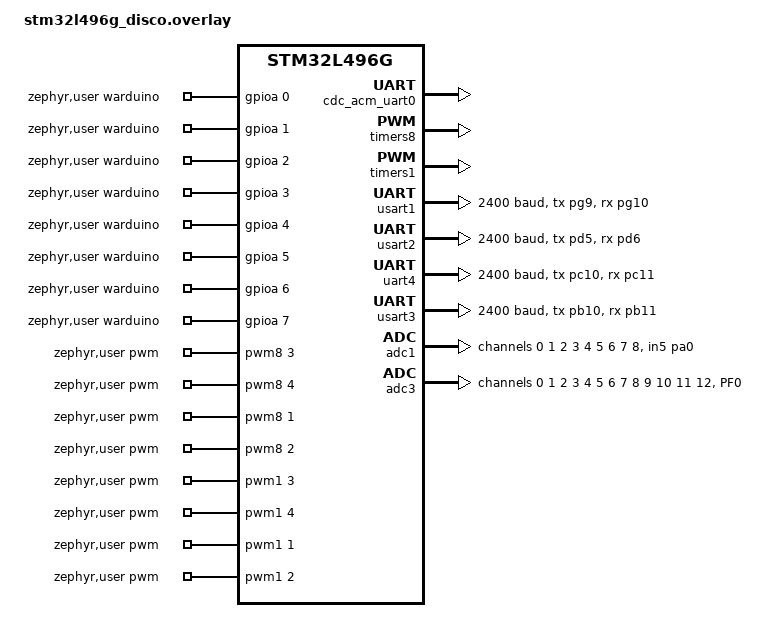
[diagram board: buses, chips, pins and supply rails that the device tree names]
#include "../app.overlay"

/ {
	chosen {
		zephyr,console = &cdc_acm_uart0;
	};
};

&zephyr_udc0 {
	cdc_acm_uart0: cdc_acm_uart0 {
		compatible = "zephyr,cdc-acm-uart";
	};
};

/ {
	zephyr,user {
		warduino-gpios =
				<&gpioa 0 0>,
				<&gpioa 1 0>,
				<&gpioa 2 0>,
				<&gpioa 3 0>,
				<&gpioa 4 0>,
				<&gpioa 5 0>,
				<&gpioa 6 0>,
				<&gpioa 7 0>,
				<&gpioa 8 0>,
				<&gpioa 9 0>,
				<&gpioa 10 0>,
				<&gpioa 11 0>,
				<&gpioa 12 0>,
				<&gpioa 15 0>,
				<&gpiob 0 0>,
				<&gpiob 1 0>,
				<&gpiob 2 0>,
				<&gpiob 3 0>,
				<&gpiob 4 0>,
				<&gpiob 5 0>,
				<&gpiob 6 0>,
				<&gpiob 7 0>,
				<&gpiob 8 0>,
				<&gpiob 9 0>,
				<&gpiob 12 0>,
				<&gpiob 13 0>,
				<&gpiob 14 0>,
				<&gpiob 15 0>,
				<&gpioc 0 0>,
				<&gpioc 1 0>,
				<&gpioc 2 0>,
				<&gpioc 3 0>,
				<&gpioc 4 0>,
				<&gpioc 5 0>,
				<&gpioc 6 0>,
				<&gpioc 7 0>,
				<&gpioc 8 0>,
				<&gpioc 9 0>,
				<&gpioc 12 0>,
				<&gpioc 15 0>,
				<&gpiod 0 0>,
				<&gpiod 1 0>,
				<&gpiod 2 0>,
				<&gpiod 3 0>,
				<&gpiod 4 0>,
				<&gpiod 7 0>,
				<&gpiod 8 0>,
				<&gpiod 9 0>,
				<&gpiod 10 0>,
				<&gpiod 11 0>,
				<&gpiod 12 0>,
				<&gpiod 13 0>,
				<&gpiod 14 0>,
				<&gpiod 15 0>,
				<&gpioe 0 0>,
				<&gpioe 1 0>,
				<&gpioe 2 0>,
				<&gpioe 3 0>,
				<&gpioe 4 0>,
				<&gpioe 7 0>,
				<&gpioe 8 0>,
				<&gpioe 10 0>,
				<&gpioe 11 0>,
				<&gpioe 12 0>,
				<&gpioe 13 0>,
				<&gpioe 14 0>,
				<&gpioe 15 0>,
				<&gpiof 3 0>,
				<&gpiof 4 0>,
				<&gpiof 5 0>,
				<&gpiof 6 0>,
				<&gpiof 7 0>,
				<&gpiof 8 0>,
				<&gpiof 9 0>,
				<&gpiof 10 0>,
				<&gpiof 11 0>,
				<&gpiof 12 0>,
				<&gpiof 13 0>,
				<&gpiof 14 0>,
				<&gpiog 2 0>,
				<&gpiog 3 0>,
				<&gpiog 4 0>,
				<&gpiog 5 0>,
				<&gpiog 6 0>,
				<&gpiog 7 0>,
				<&gpiog 8 0>,
				<&gpiog 11 0>,
				<&gpiog 12 0>,
				<&gpiog 15 0>,
				<&gpiob 10 0>,
				<&gpiob 11 0>,
				<&gpioc 10 0>,
				<&gpioc 11 0>,
				<&gpiog 13 0>,
				<&gpiog 14 0>,
				<&gpiod 5 0>,
				<&gpiod 6 0>,
				<&gpiof 0 0>,
				<&gpiof 1 0>,
				<&gpiog 9 0>,
				<&gpiog 10 0>;

		pwms =
				<&pwm8 3 10000 PWM_POLARITY_NORMAL>,
				<&pwm8 4 10000 PWM_POLARITY_NORMAL>,
				<&pwm8 1 10000 PWM_POLARITY_NORMAL>,
				<&pwm8 2 10000 PWM_POLARITY_NORMAL>,
				<&pwm1 3 10000 PWM_POLARITY_NORMAL>,
				<&pwm1 4 10000 PWM_POLARITY_NORMAL>,
				<&pwm1 1 10000 PWM_POLARITY_NORMAL>,
				<&pwm1 2 10000 PWM_POLARITY_NORMAL>;

		warduino-uarts =
				<&usart3>,
				<&uart4>,
				<&usart2>,
				<&usart1>;
	};
};

&timers8 {
	status = "okay";

	pwm8: pwm {
		status = "okay";
		pinctrl-0 = <&tim8_ch3_pc8 &tim8_ch4_pc9 &tim8_ch1_pc6 &tim8_ch2_pc7>;
		pinctrl-names =
				"default";
	};
};

&timers1 {
	status = "okay";

	pwm1: pwm {
		status = "okay";
		pinctrl-0 = <&tim1_ch3_pe13 &tim1_ch4_pe14 &tim1_ch1_pa8 &tim1_ch2_pa9>;
		pinctrl-names =
				"default";
	};
};

&usart1 {
	pinctrl-0 = <&usart1_tx_pg9 &usart1_rx_pg10>;
	current-speed = <2400>;
};

&usart2 {
	pinctrl-0 = <&usart2_tx_pd5 &usart2_rx_pd6>;
	current-speed = <2400>;
};

&uart4 {
	pinctrl-0 = <&uart4_tx_pc10 &uart4_rx_pc11>;
	current-speed = <2400>;
	status = "okay";
	pinctrl-names = "default";
};

&usart3 {
	pinctrl-0 = <&usart3_tx_pb10 &usart3_rx_pb11>;
	current-speed = <2400>;
	status = "okay";
	pinctrl-names = "default";
};

&adc1 {
	pinctrl-0 = < &adc1_in5_pa0 >;
	#address-cells = <1>;
	#size-cells = <0>;

	channel@0 {
		reg = <0>;
		zephyr,gain = "ADC_GAIN_1";
		zephyr,reference = "ADC_REF_INTERNAL";
		zephyr,vref-mv = <8>;
		zephyr,acquisition-time = <ADC_ACQ_TIME_DEFAULT>;
		zephyr,resolution = <12>;
	};

	channel@1 {
		reg = <1>;
		zephyr,gain = "ADC_GAIN_1";
		zephyr,reference = "ADC_REF_INTERNAL";
		zephyr,vref-mv = <8>;
		zephyr,acquisition-time = <ADC_ACQ_TIME_DEFAULT>;
		zephyr,resolution = <12>;
	};

	channel@2 {
		reg = <2>;
		zephyr,gain = "ADC_GAIN_1";
		zephyr,reference = "ADC_REF_INTERNAL";
		zephyr,vref-mv = <8>;
		zephyr,acquisition-time = <ADC_ACQ_TIME_DEFAULT>;
		zephyr,resolution = <12>;
	};

	channel@3 {
		reg = <3>;
		zephyr,gain = "ADC_GAIN_1";
		zephyr,reference = "ADC_REF_INTERNAL";
		zephyr,vref-mv = <8>;
		zephyr,acquisition-time = <ADC_ACQ_TIME_DEFAULT>;
		zephyr,resolution = <12>;
	};	

	channel@4 {
		reg = <4>;
		zephyr,gain = "ADC_GAIN_1";
		zephyr,reference = "ADC_REF_INTERNAL";
		zephyr,vref-mv = <8>;
		zephyr,acquisition-time = <ADC_ACQ_TIME_DEFAULT>;
		zephyr,resolution = <12>;
	};	

	channel@5 {
		reg = <5>;
		zephyr,gain = "ADC_GAIN_1";
		zephyr,reference = "ADC_REF_INTERNAL";
		zephyr,vref-mv = <8>;
		zephyr,acquisition-time = <ADC_ACQ_TIME_DEFAULT>;
		zephyr,resolution = <12>;
	};	

	channel@6 {
		reg = <6>;
		zephyr,gain = "ADC_GAIN_1";
		zephyr,reference = "ADC_REF_INTERNAL";
		//zephyr,vref-mv = <8>;
		zephyr,acquisition-time = <ADC_ACQ_TIME_DEFAULT>;
		zephyr,resolution = <12>;
	};	

	channel@7 {
		reg = <7>;
		zephyr,gain = "ADC_GAIN_1";
		zephyr,reference = "ADC_REF_INTERNAL";
		//zephyr,vref-mv = <8>;
		zephyr,acquisition-time = <ADC_ACQ_TIME_DEFAULT>;
		zephyr,resolution = <12>;
	};	

	channel@8 {
		reg = <8>;
		zephyr,gain = "ADC_GAIN_1";
		zephyr,reference = "ADC_REF_INTERNAL";
		//zephyr,vref-mv = <8>;
		zephyr,acquisition-time = <ADC_ACQ_TIME_DEFAULT>;
		zephyr,resolution = <12>;
	};	
};

&pinctrl {
	adc3_test: adc3_test {
		pinmux = <STM32_PINMUX('F', 0, ANALOG)>;
	};
};

&adc3 {
	status = "okay";
	st,adc-clock-source = "SYNC";
	st,adc-prescaler = < 0x4 >;
	resolutions = < 0x60630c 0x51630c 0x42630c 0x33630c >;
	sampling-times = < 0x3 0x7 0xd 0x19 0x30 0x5d 0xf8 0x281 >;
	st,adc-sequencer = "FULLY_CONFIGURABLE";
	st,adc-oversampler = "OVERSAMPLER_MINIMAL";
	pinctrl-names = "default";
	pinctrl-0 = < &adc3_test >;
	#address-cells = <1>;
	#size-cells = <0>;

	channel@0 {
		reg = <0>;
		zephyr,gain = "ADC_GAIN_1";
		zephyr,reference = "ADC_REF_INTERNAL";
		zephyr,vref-mv = <8>;
		zephyr,acquisition-time = <ADC_ACQ_TIME_DEFAULT>;
		zephyr,resolution = <12>;
	};

	channel@1 {
		reg = <1>;
		zephyr,gain = "ADC_GAIN_1";
		zephyr,reference = "ADC_REF_INTERNAL";
		zephyr,vref-mv = <8>;
		zephyr,acquisition-time = <ADC_ACQ_TIME_DEFAULT>;
		zephyr,resolution = <12>;
	};

	channel@2 {
		reg = <2>;
		zephyr,gain = "ADC_GAIN_1";
		zephyr,reference = "ADC_REF_INTERNAL";
		zephyr,vref-mv = <8>;
		zephyr,acquisition-time = <ADC_ACQ_TIME_DEFAULT>;
		zephyr,resolution = <12>;
	};

	channel@3 {
		reg = <3>;
		zephyr,gain = "ADC_GAIN_1";
		zephyr,reference = "ADC_REF_INTERNAL";
		zephyr,vref-mv = <8>;
		zephyr,acquisition-time = <ADC_ACQ_TIME_DEFAULT>;
		zephyr,resolution = <12>;
	};

	channel@4 {
		reg = <4>;
		zephyr,gain = "ADC_GAIN_1";
		zephyr,reference = "ADC_REF_INTERNAL";
		zephyr,vref-mv = <8>;
		zephyr,acquisition-time = <ADC_ACQ_TIME_DEFAULT>;
		zephyr,resolution = <12>;
	};

	channel@5 {
		reg = <5>;
		zephyr,gain = "ADC_GAIN_1";
		zephyr,reference = "ADC_REF_INTERNAL";
		zephyr,vref-mv = <8>;
		zephyr,acquisition-time = <ADC_ACQ_TIME_DEFAULT>;
		zephyr,resolution = <12>;
	};

	channel@6 {
		reg = <6>;
		zephyr,gain = "ADC_GAIN_1";
		zephyr,reference = "ADC_REF_INTERNAL";
		//zephyr,vref-mv = <8>;
		zephyr,acquisition-time = <ADC_ACQ_TIME_DEFAULT>;
		zephyr,resolution = <12>;
	};

	channel@7 {
		reg = <7>;
		zephyr,gain = "ADC_GAIN_1";
		zephyr,reference = "ADC_REF_INTERNAL";
		//zephyr,vref-mv = <8>;
		zephyr,acquisition-time = <ADC_ACQ_TIME_DEFAULT>;
		zephyr,resolution = <12>;
	};

	channel@8 {
		reg = <8>;
		zephyr,gain = "ADC_GAIN_1";
		zephyr,reference = "ADC_REF_INTERNAL";
		//zephyr,vref-mv = <8>;
		zephyr,acquisition-time = <ADC_ACQ_TIME_DEFAULT>;
		zephyr,resolution = <12>;
	};

	channel@9 {
		reg = <9>;
		zephyr,gain = "ADC_GAIN_1";
		zephyr,reference = "ADC_REF_INTERNAL";
		zephyr,acquisition-time = <ADC_ACQ_TIME_DEFAULT>;
		zephyr,resolution = <12>;
	};

	channel@10 {
		reg = <10>;
		zephyr,gain = "ADC_GAIN_1";
		zephyr,reference = "ADC_REF_INTERNAL";
		zephyr,acquisition-time = <ADC_ACQ_TIME_DEFAULT>;
		zephyr,resolution = <12>;
	};

	channel@11 {
		reg = <11>;
		zephyr,gain = "ADC_GAIN_1";
		zephyr,reference = "ADC_REF_INTERNAL";
		zephyr,acquisition-time = <ADC_ACQ_TIME_DEFAULT>;
		zephyr,resolution = <12>;
	};

	channel@12 {
		reg = <12>;
		zephyr,gain = "ADC_GAIN_1";
		zephyr,reference = "ADC_REF_INTERNAL";
		zephyr,acquisition-time = <ADC_ACQ_TIME_DEFAULT>;
		zephyr,resolution = <12>;
	};
};
